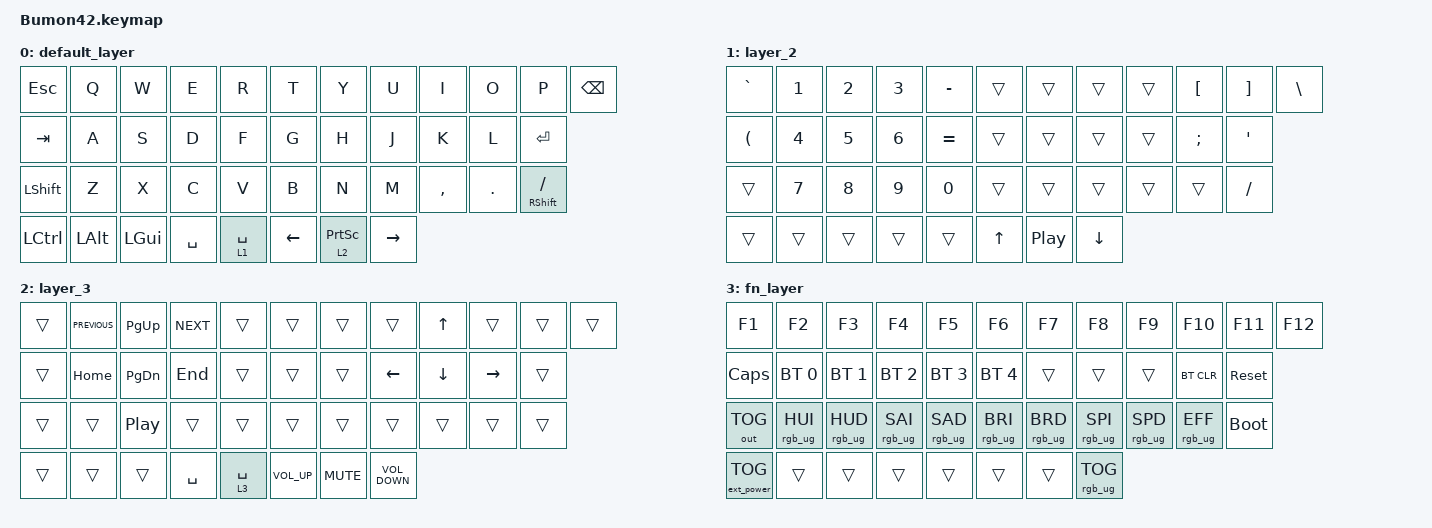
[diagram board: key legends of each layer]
#include <behaviors.dtsi>
#include <dt-bindings/zmk/bt.h>
#include <dt-bindings/zmk/ext_power.h>
#include <dt-bindings/zmk/keys.h>
#include <dt-bindings/zmk/outputs.h>
#include <dt-bindings/zmk/rgb.h>

// changed lwr and rse

#define DEF 0
#define GAM 1
#define RSE 2
#define LWR 3
#define ADJ 4
#define FN  5

/ {
    keymap {
        compatible = "zmk,keymap";

        default_layer {
            bindings = <
&kp ESC    &kp Q     &kp W     &kp E      &kp R        &kp T     &kp Y              &kp U      &kp I      &kp O    &kp P             &kp BSPC
&kp TAB    &kp A     &kp S     &kp D      &kp F        &kp G     &kp H              &kp J      &kp K      &kp L    &kp ENTER
&kp LSHFT  &kp Z     &kp X     &kp C      &kp V        &kp B     &kp N              &kp M      &kp COMMA  &kp DOT  &mt RSHIFT SLASH
&kp LCTRL  &kp LALT  &kp LGUI  &kp SPACE  &lt 1 SPACE  &kp LEFT  &lt 2 PRINTSCREEN  &kp RIGHT
            >;
        };

        layer_2 {
            bindings = <
&kp GRAVE             &kp NUMBER_1  &kp NUMBER_2  &kp NUMBER_3  &kp MINUS     &trans        &trans            &trans    &trans  &kp LEFT_BRACKET  &kp RIGHT_BRACKET  &kp BACKSLASH
&kp LEFT_PARENTHESIS  &kp NUMBER_4  &kp NUMBER_5  &kp NUMBER_6  &kp EQUAL     &trans        &trans            &trans    &trans  &kp SEMICOLON     &kp SQT
&trans                &kp NUMBER_7  &kp NUMBER_8  &kp NUMBER_9  &kp NUMBER_0  &trans        &trans            &trans    &trans  &trans            &kp SLASH
&trans                &trans        &trans        &trans        &trans        &kp UP_ARROW  &kp C_PLAY_PAUSE  &kp DOWN
            >;
        };

        layer_3 {
            bindings = <
&trans  &kp C_PREVIOUS  &kp PAGE_UP       &kp C_NEXT  &trans       &trans           &trans      &trans             &kp UP_ARROW  &trans     &trans  &trans
&trans  &kp HOME        &kp PAGE_DOWN     &kp END     &trans       &trans           &trans      &kp LEFT           &kp DOWN      &kp RIGHT  &trans
&trans  &trans          &kp C_PLAY_PAUSE  &trans      &trans       &trans           &trans      &trans             &trans        &trans     &trans
&trans  &trans          &trans            &kp SPACE   &lt 3 SPACE  &kp C_VOLUME_UP  &kp C_MUTE  &kp C_VOLUME_DOWN
            >;
        };

        fn_layer {
            bindings = <
&kp F1             &kp F2           &kp F3           &kp F4           &kp F5           &kp F6           &kp F7           &kp F8           &kp F9           &kp F10          &kp F11      &kp F12
&kp CAPS           &bt BT_SEL 0     &bt BT_SEL 1     &bt BT_SEL 2     &bt BT_SEL 3     &bt BT_SEL 4     &trans           &trans           &trans           &bt BT_CLR       &sys_reset
&out OUT_TOG       &rgb_ug RGB_HUI  &rgb_ug RGB_HUD  &rgb_ug RGB_SAI  &rgb_ug RGB_SAD  &rgb_ug RGB_BRI  &rgb_ug RGB_BRD  &rgb_ug RGB_SPI  &rgb_ug RGB_SPD  &rgb_ug RGB_EFF  &bootloader
&ext_power EP_TOG  &trans           &trans           &trans           &trans           &trans           &trans           &rgb_ug RGB_TOG
            >;
        };
    };
};
